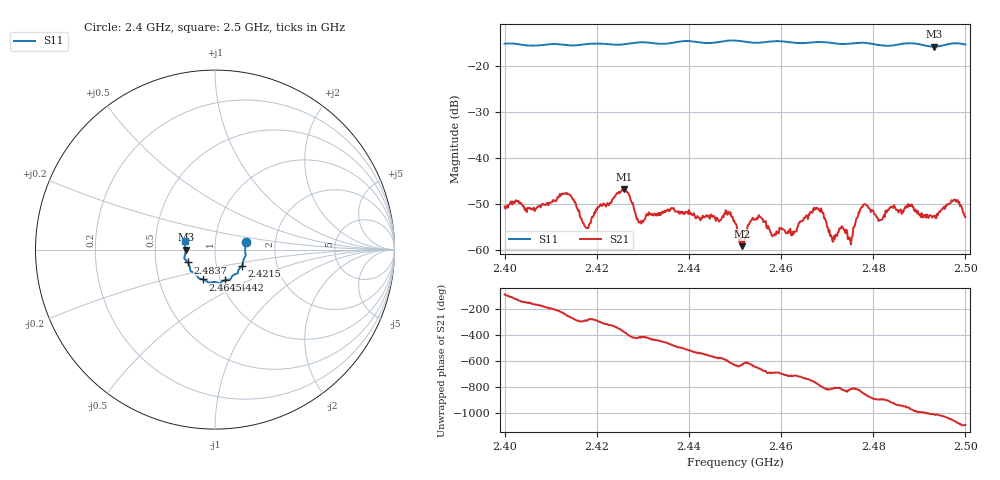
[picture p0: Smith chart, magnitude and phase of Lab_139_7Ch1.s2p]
# Hz S RI R 50
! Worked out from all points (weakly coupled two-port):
!   601 points, 2.4 GHz to 2.5 GHz, reference 50 ohm
!   highest |S21| = -46.77 dB at 2.4258 GHz (marker M1); lowest = -59.1 dB at 2.4515 GHz (marker M2)
!   lowest |S11| = -15.7 dB at 2.4932 GHz (marker M3), VSWR 1.39, Z = 36 - j0.0471 ohm
!   |S11| at or under -10 dB: start of sweep to end of sweep
!   S12 and S22 are empty: the file has one direction only
!   S11 on the Smith chart (normalised r, x): 2.4 GHz: 1.41, +0.12; 2.4215 GHz: 1.33, -0.25; 2.4442 GHz: 1.05, -0.37; 2.4645 GHz: 0.83, -0.29; 2.4837 GHz: 0.73, -0.11; 2.5 GHz: 0.71, +0.07
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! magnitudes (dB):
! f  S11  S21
! 2.4 GHz  -15.1  -50.5
! 2.4133 GHz  -15.4  -47.7
! 2.4167 GHz  -15.3  -53.1
! 2.418 GHz  -15.2  -55.1
! 2.4215 GHz  -15.1  -49.8
! 2.4258 GHz  -15.2  -46.8
! 2.4292 GHz  -14.8  -54.0
! 2.4333 GHz  -15.1  -51.9
! 2.4442 GHz  -15.0  -52.6
! 2.45 GHz  -14.4  -54.1
! 2.4515 GHz  -14.6  -59.1
! 2.455 GHz  -14.9  -52.8
! 2.4583 GHz  -14.6  -56.8
! 2.4645 GHz  -15.0  -53.7
! 2.4667 GHz  -14.8  -51.8
! 2.475 GHz  -15.1  -57.9
! 2.4778 GHz  -14.9  -50.1
! 2.4833 GHz  -15.6  -51.2
! 2.4837 GHz  -15.5  -50.8
! 2.4932 GHz  -15.7  -52.5
! 2.4978 GHz  -15.0  -49.0
! 2.5 GHz  -15.3  -52.8
